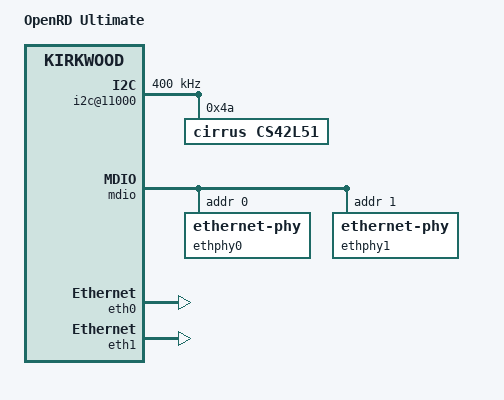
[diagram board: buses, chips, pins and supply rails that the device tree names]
/dts-v1/;
#include "kirkwood-openrd.dtsi"
/ {
	model = "OpenRD Ultimate";
	compatible = "marvell,openrd-ultimate", "marvell,openrd", "marvell,kirkwood-88f6281", "marvell,kirkwood";
	ocp@f1000000 {
		i2c@11000 {
			status = "okay";
			clock-frequency = <400000>;
			cs42l51: cs42l51@4a {
				compatible = "cirrus,cs42l51";
				reg = <0x4a>;
			};
		};
	};
};
&mdio {
	status = "okay";
	ethphy0: ethernet-phy@0 {
		reg = <0>;
	};
	ethphy1: ethernet-phy@1 {
		reg = <1>;
	};
};
&eth0 {
	status = "okay";
	ethernet0-port@0 {
		phy-handle = <&ethphy0>;
	};
};
&eth1 {
	status = "okay";
	ethernet1-port@0 {
		phy-handle = <&ethphy1>;
	};
};
